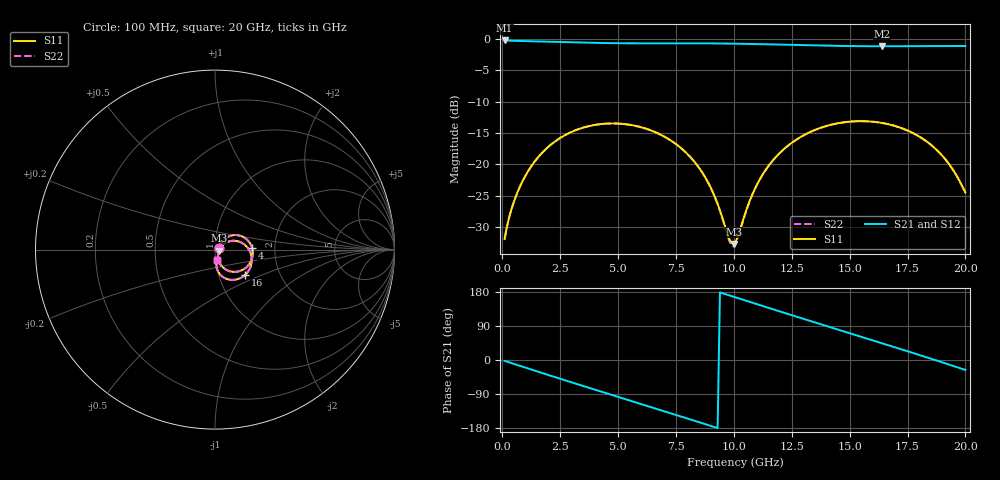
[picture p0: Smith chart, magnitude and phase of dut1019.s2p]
! Touchstone file exported from HFSS 2026.1.0
!  File:  C:/ffzhzh/LocalFiles/Ansys_Project_Files/temp_train_TSV_RDL_1019_1783292304_38820.aedt
!  Generated:  07:09:59 AM Jul  6, 2026
!  Design:  TSV_RDL
!  Project:  temp_train_TSV_RDL_1019_1783292304_38820
! Variables:
!  h_bsmrdl = 3.82um
!  h_ox = 20um
!  h_rdl = 5um
!  h_sub = 98.21um
!  h_tmrdl = 4.74um
!  h_tsv = 98.21um
!  h_via = 3um
!  l_bsmrdl = 629.29um
!  l_sub = 6227.08um
!  l_tmrdl = 951.78um
!  m_sub = 200um
!  pitch = 35.31um
!  r_tsv = 11.7um
!  s_tmrdl = 10um
!  w_bsmrdl = 15.85um
!  w_sub = 500um
!  w_tmrdl = 28.18um
!  x_tsv_center1 = 965.87um
!  x_tsv_center2 = 1611.01um
!  x_tsv_center3 = 2590.97um
!  x_tsv_center4 = 3236.11um
!  x_tsv_center5 = 4216.07um
!  x_tsv_center6 = 4861.21um
# GHz S MA R 50.000000
! Terminal data exported
! Port[1] = TM_RDL1_1_T1
! Port[2] = TM_RDL5_1_T1
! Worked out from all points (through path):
!   200 points, 100 MHz to 20 GHz, reference 50 ohm
!   highest |S21| = -0.20 dB at 100 MHz (marker M1); lowest = -1.1 dB at 16.4 GHz (marker M2)
!   group delay of S21, straight-line fit = 53.4 ps
!   lowest |S11| = -32.7 dB at 10 GHz (marker M3), VSWR 1.05, Z = 52.3 - j0.63 ohm
!   |S11| at or under -10 dB: start of sweep to end of sweep
!   |S22| runs from -33.1 to -13.1 dB; largest |S21 - S12| = 4.5e-14
!   S11 on the Smith chart (normalised r, x): 100 MHz: 1.05, +0.02; 4 GHz: 1.52, +0.03; 16 GHz: 1.33, -0.40; 20 GHz: 1.02, -0.12
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0.1  0.02529 22.7  0.977 -2.2  0.977 -2.2  0.02529 22.7
! Gamma 0 0 0 0
! Port Impedance 50 0 50 0
0.6  0.05628 45.8  0.969 -12.3  0.969 -12.3  0.05629 45.8
1.3  0.09938 44.7  0.9621 -26.1  0.9621 -26.1  0.0994 44.6
2.3  0.1535 31.2  0.951 -45.7  0.951 -45.7  0.1535 31.2
3.5  0.1967 11.3  0.9383 -68.7  0.9383 -68.7  0.1968 11.2
4  0.2066 2.7  0.9341 -78.2  0.9341 -78.2  0.2066 2.6
5.4  0.2084 -21.3  0.9274 -104.7  0.9274 -104.7  0.2084 -21.5
6.8  0.1741 -44.7  0.9265 -131.3  0.9265 -131.3  0.1742 -45.0
8.6  0.08809 -69.6  0.9264 -166.1  0.9264 -166.1  0.08801 -70.2
9.8  0.02541 -41.6  0.9224 170.5  0.9224 170.5  0.02462 -42.8
10  0.02315 -15.1  0.9213 166.6  0.9213 166.6  0.02219 -15.2
10.1  0.02457 -1.9  0.9208 164.7  0.9208 164.7  0.02364 -1.4
10.8  0.05757 31.6  0.9158 151.1  0.9158 151.1  0.05709 32.3
11.4  0.09178 29.8  0.9106 139.4  0.9106 139.4  0.09145 30.3
12.4  0.144 17.4  0.901 120.2  0.901 120.2  0.1438 17.6
13.4  0.1849 1.9  0.8917 101.1  0.8917 101.1  0.1847 2.1
14.7  0.216 -19.1  0.8825 76.4  0.8825 76.4  0.2159 -19.0
16  0.2191 -40.3  0.8784 51.8  0.8784 51.8  0.2191 -40.3
16.4  0.2142 -46.8  0.8782 44.2  0.8782 44.2  0.2141 -46.8
16.7  0.2087 -51.6  0.8783 38.5  0.8783 38.5  0.2086 -51.6
18.6  0.1389 -79.1  0.8821 1.7  0.8821 1.7  0.1388 -79.1
20  0.05954 -78.1  0.8828 -26.2  0.8828 -26.2  0.05929 -78.4
